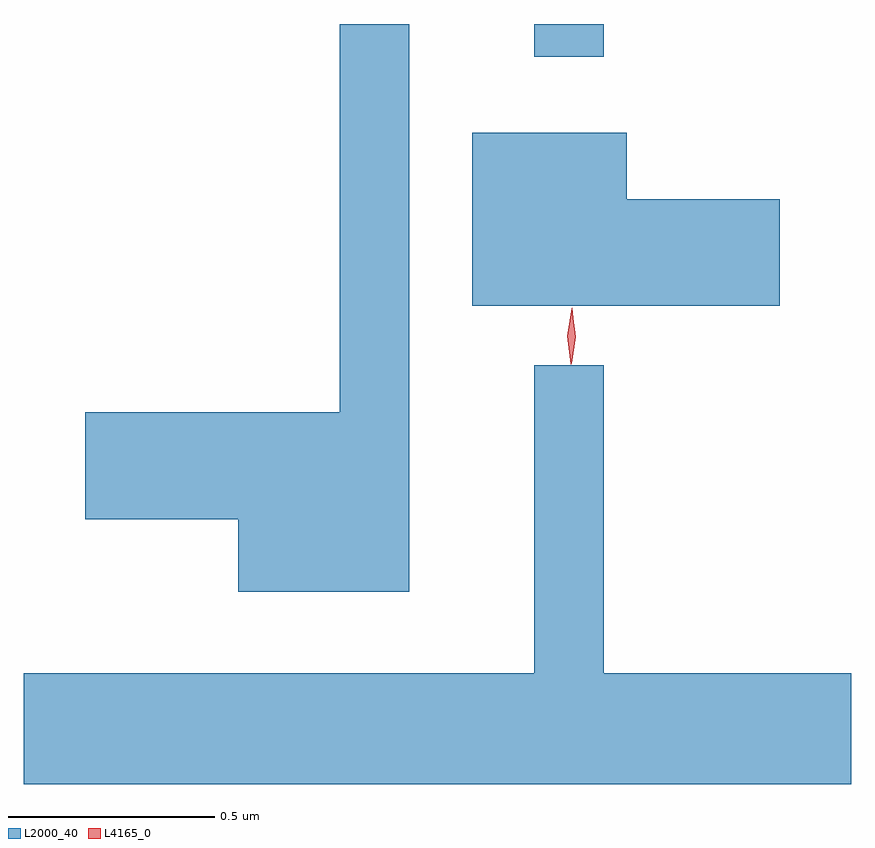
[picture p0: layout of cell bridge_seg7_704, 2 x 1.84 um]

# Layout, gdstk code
import gdstk
lib = gdstk.Library(unit=1e-6, precision=1e-09)
def R(c, l, rs):  # rectangles x0, y0, x1, y1
    for r in rs: c.add(gdstk.rectangle(r[:2], r[2:], *l))
def P(c, l, *ps):  # polygons
    for p in ps: c.add(gdstk.Polygon(p, *l))
L2000_40 = (2000, 40)
L4165_0 = (4165, 0)

bridge_seg7_704 = lib.new_cell('bridge_seg7_704')
R(bridge_seg7_704, L2000_40, [(1017.431,1716.073,1017.599,1716.152)])
P(bridge_seg7_704, L2000_40, [(1017.129,1716.152),(1016.961,1716.152),(1016.961,1715.214),(1016.346,1715.214),(1016.346,1714.956),(1016.716,1714.956),(1016.716,1714.781),(1017.129,1714.781)],
  [(1018.024,1715.729),(1017.654,1715.729),(1017.654,1715.889),(1017.281,1715.889),(1017.281,1715.471),(1018.024,1715.471)],
  [(1018.197,1714.584),(1017.599,1714.584),(1017.599,1715.328),(1017.431,1715.328),(1017.431,1714.584),(1016.197,1714.584),(1016.197,1714.316),(1018.197,1714.316)])
P(bridge_seg7_704, L4165_0, [(1017.519,1715.33),(1017.511,1715.398),(1017.521,1715.465),(1017.522,1715.466),(1017.522,1715.465),(1017.53,1715.398),(1017.52,1715.33),(1017.52,1715.33)],
  [(1017.52,1715.333),(1017.512,1715.396),(1017.522,1715.459),(1017.522,1715.46),(1017.523,1715.459),(1017.531,1715.396),(1017.521,1715.333),(1017.521,1715.333)])

lib.write_gds('bridge_seg7_704.gds')
